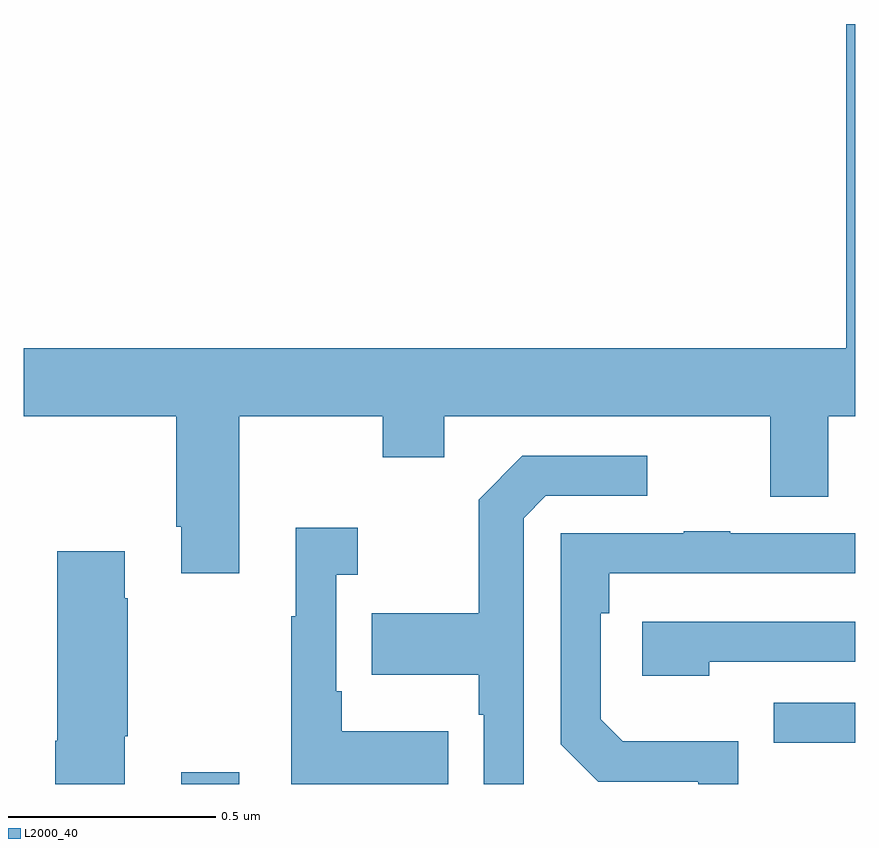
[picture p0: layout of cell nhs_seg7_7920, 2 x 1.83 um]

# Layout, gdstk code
import gdstk
lib = gdstk.Library(unit=1e-6, precision=1e-09)
def R(c, l, rs):  # rectangles x0, y0, x1, y1
    for r in rs: c.add(gdstk.rectangle(r[:2], r[2:], *l))
def P(c, l, *ps):  # polygons
    for p in ps: c.add(gdstk.Polygon(p, *l))
L2000_40 = (2000, 40)

nhs_seg7_7920 = lib.new_cell('nhs_seg7_7920')
R(nhs_seg7_7920, L2000_40, [(217.379,1065,217.519,1065.028), (218.803,1065.099,219,1065.195)])
P(nhs_seg7_7920, L2000_40, [(219,1066.827),(218.978,1066.827),(218.978,1066.048),(217,1066.048),(217,1065.884),(217.367,1065.884),(217.367,1065.619),(217.379,1065.619),(217.379,1065.507),(217.519,1065.507),(217.519,1065.884),(217.864,1065.884),(217.864,1065.785),(218.011,1065.785),(218.011,1065.884),(218.795,1065.884),(218.795,1065.69),(218.935,1065.69),(218.935,1065.884),(219,1065.884)],
  [(218.202,1065.639),(218.256,1065.693),(218.5,1065.693),(218.5,1065.789),(218.199,1065.789),(218.094,1065.683),(218.094,1065.411),(217.837,1065.411),(217.837,1065.263),(218.094,1065.263),(218.094,1065.167),(218.106,1065.167),(218.106,1065),(218.202,1065)],
  [(218.021,1065.127),(217.765,1065.127),(217.765,1065.223),(217.752,1065.223),(217.752,1065.503),(217.804,1065.503),(217.804,1065.616),(217.655,1065.616),(217.655,1065.403),(217.644,1065.403),(217.644,1065),(218.021,1065)],
  [(218.718,1065.103),(218.441,1065.103),(218.388,1065.156),(218.388,1065.41),(218.408,1065.41),(218.408,1065.507),(219,1065.507),(219,1065.603),(218.699,1065.603),(218.699,1065.608),(218.587,1065.608),(218.587,1065.603),(218.292,1065.603),(218.292,1065.096),(218.382,1065.006),(218.622,1065.006),(218.622,1065),(218.718,1065)],
  [(217.243,1065.115),(217.251,1065.115),(217.251,1065.446),(217.243,1065.446),(217.243,1065.559),(217.081,1065.559),(217.081,1065.104),(217.076,1065.104),(217.076,1065),(217.243,1065)],
  [(218.648,1065.294),(219,1065.294),(219,1065.39),(218.487,1065.39),(218.487,1065.26),(218.648,1065.26)])

lib.write_gds('nhs_seg7_7920.gds')
